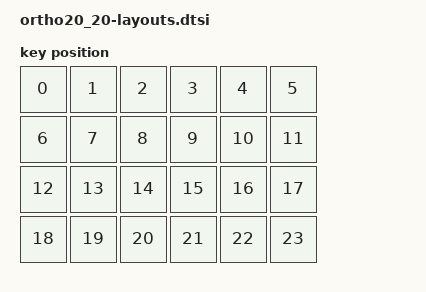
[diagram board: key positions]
#include <physical_layouts.dtsi>

/ {
    physical_layout_ortho20_20: physical_layout_ortho20_20 {
        compatible = "zmk,physical-layout";
        display-name = "ortho20/20";
        keys  //                     w   h    x    y     rot    rx    ry
            = <&key_physical_attrs 100 100    0    0       0     0     0>
            , <&key_physical_attrs 100 100  100    0       0     0     0>
            , <&key_physical_attrs 100 100  200    0       0     0     0>
            , <&key_physical_attrs 100 100  300    0       0     0     0>
            , <&key_physical_attrs 100 100  400    0       0     0     0>
            , <&key_physical_attrs 100 100  500    0       0     0     0>
            , <&key_physical_attrs 100 100    0  100       0     0     0>
            , <&key_physical_attrs 100 100  100  100       0     0     0>
            , <&key_physical_attrs 100 100  200  100       0     0     0>
            , <&key_physical_attrs 100 100  300  100       0     0     0>
            , <&key_physical_attrs 100 100  400  100       0     0     0>
            , <&key_physical_attrs 100 100  500  100       0     0     0>
            , <&key_physical_attrs 100 100    0  200       0     0     0>
            , <&key_physical_attrs 100 100  100  200       0     0     0>
            , <&key_physical_attrs 100 100  200  200       0     0     0>
            , <&key_physical_attrs 100 100  300  200       0     0     0>
            , <&key_physical_attrs 100 100  400  200       0     0     0>
            , <&key_physical_attrs 100 100  500  200       0     0     0>
            , <&key_physical_attrs 100 100    0  300       0     0     0>
            , <&key_physical_attrs 100 100  100  300       0     0     0>
            , <&key_physical_attrs 100 100  200  300       0     0     0>
            , <&key_physical_attrs 100 100  300  300       0     0     0>
            , <&key_physical_attrs 100 100  400  300       0     0     0>
            , <&key_physical_attrs 100 100  500  300       0     0     0>
            ;
    };
};
